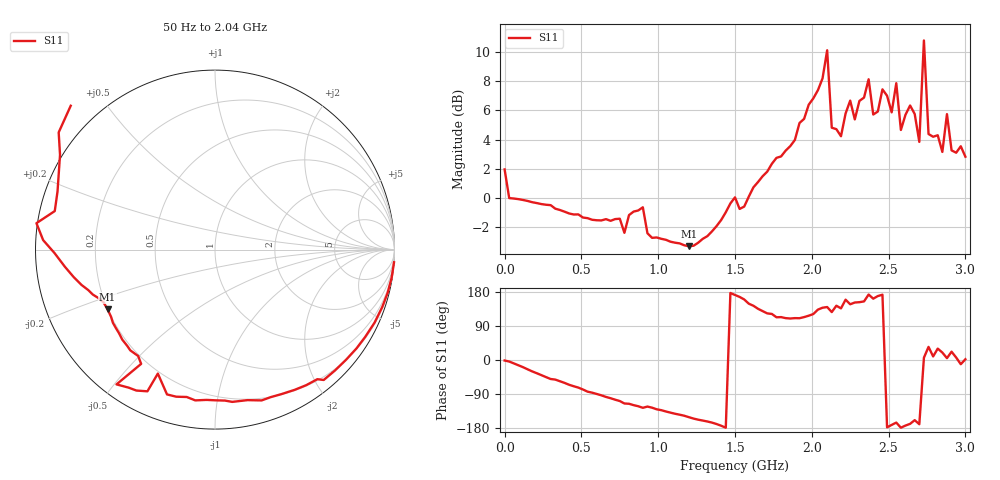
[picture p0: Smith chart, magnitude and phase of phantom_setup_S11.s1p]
# HZ S RI R 50
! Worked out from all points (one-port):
!   101 points, 50 Hz to 3 GHz, reference 50 ohm
!   lowest |S11| = -3.3 dB at 1.2 GHz (marker M1), VSWR 5.35, Z = 9.96 - j12.5 ohm
!   |S11| at or under -10 dB: nowhere
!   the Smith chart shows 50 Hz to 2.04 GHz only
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50  1.253 -0.0302
3.9e8  0.4443 -0.7812
7.5e8  -0.2673 -0.8069
1.14e9  -0.5688 -0.4079
1.2e9  -0.5986 -0.3327
1.5e9  -0.9949 0.1472
1.89e9  -0.5538 1.481
2.01e9  -1.139 1.874
2.1e9  -2.444 2.068
2.13e9  -1.034 1.4
2.19e9  -1.174 1.127
2.22e9  -1.819 0.693
2.25e9  -1.808 1.171
2.34e9  -1.992 0.9473
2.37e9  -2.528 0.3214
2.4e9  -1.834 0.6031
2.55e9  -2.389 -0.633
2.58e9  -1.709 -0.0404
2.64e9  -2.031 -0.4133
2.7e9  -1.531 -0.2828
2.73e9  3.44 0.3633
2.76e9  1.363 0.9404
2.79e9  1.599 0.2649
2.82e9  1.419 0.8222
2.88e9  1.93 0.1647
2.91e9  1.351 0.5433
2.97e9  1.476 -0.2891
3e9  1.384 0.0465
